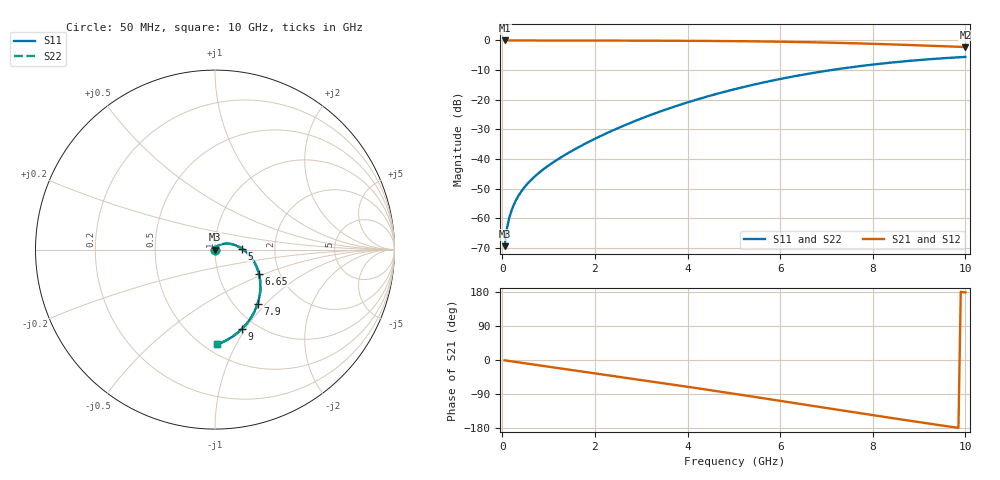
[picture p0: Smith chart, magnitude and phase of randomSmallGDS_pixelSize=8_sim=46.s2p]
! freq	dB(S11)	phase(S11)	dB(S12)	phase(S12)
!  dB(S21)	phase(S21)	dB(S22)	phase(S22)
!S-par simulation data
#  GHz  S  DB  R 50
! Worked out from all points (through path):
!   200 points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, 50 MHz to 10 GHz, reference 50 ohm
!   highest |S21| = 0.00 dB at 50 MHz (marker M1); lowest = -2.2 dB at 10 GHz (marker M2)
!   group delay of S21, straight-line fit = 50.9 ps
!   lowest |S11| = -69.4 dB at 50 MHz (marker M3), VSWR 1.00, Z = 50 + j0.0338 ohm
!   |S11| at or under -10 dB: start of sweep to 7.096 GHz
!   |S22| runs from -69.4 to -5.5 dB; largest |S21 - S12| = 0
!   S11 on the Smith chart (normalised r, x): 50 MHz: 1.00, +0.00; 5 GHz: 1.35, +0.02; 6.65 GHz: 1.57, -0.45; 7.9 GHz: 1.27, -0.90; 9 GHz: 0.85, -0.96; 10 GHz: 0.57, -0.84
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0.05  -69.36 83.0  -0.00 -0.9  -0.00 -0.9  -69.36 83.0
0.1  -63.36 85.3  -0.00 -1.8  -0.00 -1.8  -63.36 85.3
0.15  -59.83 85.4  -0.00 -2.6  -0.00 -2.6  -59.83 85.5
0.2  -57.31 85.1  -0.00 -3.5  -0.00 -3.5  -57.31 85.2
0.3  -53.73 84.0  -0.00 -5.3  -0.00 -5.3  -53.73 84.0
0.45  -50.06 81.8  -0.01 -7.9  -0.01 -7.9  -50.06 81.9
0.65  -46.59 78.8  -0.01 -11.4  -0.01 -11.4  -46.59 78.8
0.95  -42.71 74.0  -0.02 -16.6  -0.02 -16.6  -42.71 74.1
1.75  -35.13 61.0  -0.04 -30.6  -0.04 -30.6  -35.13 61.1
2.55  -29.20 47.0  -0.05 -44.6  -0.05 -44.6  -29.20 47.1
3.4  -24.00 31.6  -0.09 -59.8  -0.09 -59.8  -24.00 31.8
4.2  -19.93 17.0  -0.14 -74.2  -0.14 -74.2  -19.92 17.1
5  -16.50 2.3  -0.23 -89.0  -0.23 -89.0  -16.50 2.4
5.05  -16.30 1.3  -0.24 -89.9  -0.24 -89.9  -16.30 1.4
5.85  -13.46 -13.6  -0.38 -104.9  -0.38 -104.9  -13.46 -13.5
6.65  -11.11 -28.6  -0.60 -120.0  -0.60 -120.0  -11.11 -28.5
6.7  -10.98 -29.6  -0.61 -121.0  -0.61 -121.0  -10.98 -29.5
7.3  -9.54 -40.8  -0.83 -132.3  -0.83 -132.3  -9.53 -40.7
7.9  -8.31 -51.8  -1.09 -143.6  -1.09 -143.6  -8.31 -51.7
8.35  -7.54 -60.0  -1.30 -152.0  -1.30 -152.0  -7.53 -59.9
9  -6.60 -71.6  -1.65 -164.0  -1.65 -164.0  -6.60 -71.5
10  -5.55 -88.7  -2.22 178.2  -2.22 178.2  -5.55 -88.7
